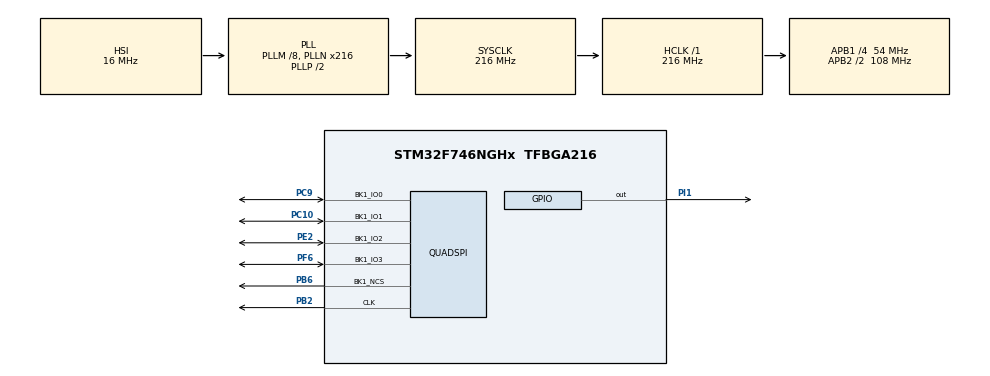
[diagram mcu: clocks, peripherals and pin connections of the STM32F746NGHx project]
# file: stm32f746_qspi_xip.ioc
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Dma.QUADSPI.0.Direction=DMA_PERIPH_TO_MEMORY
Dma.QUADSPI.0.FIFOMode=DMA_FIFOMODE_DISABLE
Dma.QUADSPI.0.Instance=DMA2_Stream7
Dma.QUADSPI.0.MemDataAlignment=DMA_MDATAALIGN_BYTE
Dma.QUADSPI.0.MemInc=DMA_MINC_ENABLE
Dma.QUADSPI.0.Mode=DMA_NORMAL
Dma.QUADSPI.0.PeriphDataAlignment=DMA_PDATAALIGN_BYTE
Dma.QUADSPI.0.PeriphInc=DMA_PINC_DISABLE
Dma.QUADSPI.0.Priority=DMA_PRIORITY_LOW
Dma.Request0=QUADSPI
Mcu.Family=STM32F7
Mcu.Name=STM32F746NGHx
Mcu.Package=TFBGA216
NVIC.DMA2_Stream7_IRQn=true\:0\:0\:false\:false\:true\:false\:true
NVIC.PriorityGroup=NVIC_PRIORITYGROUP_4
NVIC.QUADSPI_IRQn=true\:15\:0\:true\:false\:true\:true\:true
PA13.Mode=Serial_Wire
PA13.Signal=SYS_JTMS-SWDIO
PA14.Mode=Serial_Wire
PA14.Signal=SYS_JTCK-SWCLK
PB2.Mode=Single Bank 1
PB2.Signal=QUADSPI_CLK
PB6.Mode=Single Bank 1
PB6.Signal=QUADSPI_BK1_NCS
PC10.Mode=Single Bank 1
PC10.Signal=QUADSPI_BK1_IO1
PC9.Mode=Single Bank 1
PC9.Signal=QUADSPI_BK1_IO0
PE2.Mode=Single Bank 1
PE2.Signal=QUADSPI_BK1_IO2
PF6.Mode=Single Bank 1
PF6.Signal=QUADSPI_BK1_IO3
PI1.Signal=GPIO_Output
ProjectManager.HeapSize=0x200
ProjectManager.StackSize=0x400
ProjectManager.TargetToolchain=STM32CubeIDE
QUADSPI.ChipSelectHighTime=QSPI_CS_HIGH_TIME_2_CYCLE
QUADSPI.ClockPrescaler=2
QUADSPI.FifoThreshold=4
QUADSPI.FlashSize=POSITION_VAL(0x1000000) - 1
QUADSPI.SampleShifting=QSPI_SAMPLE_SHIFTING_HALFCYCLE
RCC.AHBFreq_Value=216000000
RCC.APB1CLKDivider=RCC_HCLK_DIV4
RCC.APB1Freq_Value=54000000
RCC.APB1TimFreq_Value=108000000
RCC.APB2CLKDivider=RCC_HCLK_DIV2
RCC.APB2Freq_Value=108000000
RCC.APB2TimFreq_Value=216000000
RCC.CortexFreq_Value=216000000
RCC.HCLKFreq_Value=216000000
RCC.HSE_VALUE=25000000
RCC.HSI_VALUE=16000000
RCC.LSE_VALUE=32768
RCC.PLLM=8
RCC.PLLN=216
RCC.SYSCLKFreq_VALUE=216000000
RCC.SYSCLKSource=RCC_SYSCLKSOURCE_PLLCLK
RCC.USBFreq_Value=216000000
RCC.VCOOutputFreq_Value=432000000
board=custom

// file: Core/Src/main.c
/* USER CODE BEGIN Header */
/**
  ******************************************************************************
  * @file           : main.c
  * @brief          : Main program body
  ******************************************************************************
  * @attention
  *
  * <h2><center>&copy; Copyright (c) 2019 STMicroelectronics.
  * All rights reserved.</center></h2>
  *
  * This software component is licensed by ST under BSD 3-Clause license,
  * the "License"; You may not use this file except in compliance with the
  * License. You may obtain a copy of the License at:
  *                        opensource.org/licenses/BSD-3-Clause
  *
  ******************************************************************************
  */
/* USER CODE END Header */

#include "main.h"
#include "dma.h"
#include "quadspi.h"
#include "gpio.h"

void SystemClock_Config(void);
/* USER CODE BEGIN PFP */
#include "gpio_toggle.h"
#if defined(__CC_ARM)
extern uint32_t Load$$QSPI$$Base;
extern uint32_t Load$$QSPI$$Length;
#elif defined(__ICCARM__)
#pragma section =".qspi"
#pragma section =".qspi_init"
#elif defined(__GNUC__)
extern uint32_t _qspi_init_base;
extern uint32_t _qspi_init_length;
#endif

__IO uint8_t CmdCplt, RxCplt, TxCplt, StatusMatch;

static void QSPI_WriteEnable(QSPI_HandleTypeDef *hqspi);
static void QSPI_AutoPollingMemReady(QSPI_HandleTypeDef *hqspi);
static void QSPI_DummyCyclesCfg(QSPI_HandleTypeDef *hqspi);
static void GpioToggle(void);
/* USER CODE END PFP */

int main(void)
{
  /* USER CODE BEGIN 1 */
  QSPI_CommandTypeDef      sCommand;
  QSPI_MemoryMappedTypeDef sMemMappedCfg;
  __IO uint32_t qspi_addr = 0;
  uint8_t *flash_addr;
  __IO uint8_t step = 0;
  uint32_t max_size, size;
  /* USER CODE END 1 */

  /* MCU Configuration--------------------------------------------------------*/

  /* Reset of all peripherals, Initializes the Flash interface and the Systick. */
  HAL_Init();

  /* Configure the system clock */
  SystemClock_Config();

  /* Initialize all configured peripherals */
  MX_GPIO_Init();
  MX_QUADSPI_Init();
  MX_DMA_Init();

  /* Infinite loop */
  /* USER CODE BEGIN WHILE */
  sCommand.InstructionMode   = QSPI_INSTRUCTION_1_LINE;
  sCommand.AddressSize       = QSPI_ADDRESS_24_BITS;
  sCommand.AlternateByteMode = QSPI_ALTERNATE_BYTES_NONE;
  sCommand.DdrMode           = QSPI_DDR_MODE_DISABLE;
  sCommand.DdrHoldHalfCycle  = QSPI_DDR_HHC_ANALOG_DELAY;
  sCommand.SIOOMode          = QSPI_SIOO_INST_EVERY_CMD;

  flash_addr = 0;
  size = 0 ;

#if defined(__CC_ARM)
  max_size = (uint32_t)(&Load$$QSPI$$Length);
#elif defined(__ICCARM__)
  max_size = __section_size(".qspi_init");
#elif defined(__GNUC__)
  max_size = (uint32_t)((uint8_t *)(&_qspi_init_length));
#endif
  while (1)
  {
    switch(step)
    {
      case 0:
        CmdCplt = 0;

        /* Enable write operations ------------------------------------------- */
        QSPI_WriteEnable(&hqspi);

        /* Erasing Sequence -------------------------------------------------- */
        sCommand.Instruction = SECTOR_ERASE_CMD;
        sCommand.AddressMode = QSPI_ADDRESS_1_LINE;
        sCommand.Address     = qspi_addr;
        sCommand.DataMode    = QSPI_DATA_NONE;
        sCommand.DummyCycles = 0;

        if (HAL_QSPI_Command_IT(&hqspi, &sCommand) != HAL_OK)
        {
          Error_Handler();
        }

        step++;
        break;

      case 1:
        if(CmdCplt != 0)
        {
          CmdCplt = 0;
          StatusMatch = 0;

          /* Configure automatic polling mode to wait for end of erase ------- */
          QSPI_AutoPollingMemReady(&hqspi);

          /* Initialize the variables for the data writing ------------------- */
          #if defined(__CC_ARM)
          flash_addr = (uint8_t *)(&Load$$QSPI$$Base);
          #elif defined(__ICCARM__)
          flash_addr = (uint8_t *)(__section_begin(".qspi_init"));
          #elif defined(__GNUC__)
          flash_addr =(uint8_t *)(&_qspi_init_base);
          #endif

          /* Copy only one page if the section is bigger */
          if (max_size > QSPI_PAGE_SIZE)
          {
            size = QSPI_PAGE_SIZE;
          }
          else
          {
            size = max_size;
          }

          step++;
        }
        break;

      case 2:
        if(StatusMatch != 0)
        {
          StatusMatch = 0;
          TxCplt = 0;

          /* Enable write operations ----------------------------------------- */
          QSPI_WriteEnable(&hqspi);

          /* Writing Sequence ------------------------------------------------ */
          sCommand.Instruction = QUAD_IN_FAST_PROG_CMD;
          sCommand.AddressMode = QSPI_ADDRESS_1_LINE;
          sCommand.Address     = qspi_addr;
          sCommand.DataMode    = QSPI_DATA_4_LINES;
          sCommand.NbData      = size;

          if (HAL_QSPI_Command(&hqspi, &sCommand, HAL_QPSI_TIMEOUT_DEFAULT_VALUE) != HAL_OK)
          {
            Error_Handler();
          }

          if (HAL_QSPI_Transmit_IT(&hqspi, flash_addr) != HAL_OK)
          {
            Error_Handler();
          }

          step++;
        }
        break;

      case 3:
        if(TxCplt != 0)
        {
          TxCplt = 0;
          StatusMatch = 0;

          /* Configure automatic polling mode to wait for end of program ----- */
          QSPI_AutoPollingMemReady(&hqspi);

          step++;
        }
        break;

      case 4:
        if(StatusMatch != 0)
        {
          qspi_addr += size;
          flash_addr += size;

          /* Check if a new page writing is needed */
          if (qspi_addr < max_size)
          {
            /* Update the remaining size if it is less than the page size */
            if ((qspi_addr + size) > max_size)
            {
              size = (max_size - qspi_addr) ;
            }
            step = 2;
          }
          else
          {
            StatusMatch = 0;
            RxCplt = 0;

            /* Configure Volatile Configuration register (with new dummy cycles) */
            QSPI_DummyCyclesCfg(&hqspi);

            /* Reading Sequence ------------------------------------------------ */
            sCommand.Instruction = QUAD_OUT_FAST_READ_CMD;
            sCommand.DummyCycles = DUMMY_CLOCK_CYCLES_READ_QUAD;

            sMemMappedCfg.TimeOutActivation = QSPI_TIMEOUT_COUNTER_DISABLE;

            if (HAL_QSPI_MemoryMapped(&hqspi, &sCommand, &sMemMappedCfg) != HAL_OK)
            {
              Error_Handler();
            }

            step++;
          }
        }
        break;

      case 5:
        {
#if 1
          /* Execute the code from QSPI memory ------------------------------- */
          uint32_t *ramx = (uint32_t *)(0x20037000);
          uint32_t *qspix = (uint32_t *)(0x90000000);
          for(int i=0; i<0x30; i++)
          {
            *ramx = *qspix;
            ramx++;
            qspix++;
          }
#endif
        }
        step++;
        break;

      case 6:
        GpioToggle();
        break;

      default :
        Error_Handler();
    }
    /* USER CODE END WHILE */

  }
}

void SystemClock_Config(void)
{
  RCC_OscInitTypeDef RCC_OscInitStruct = {0};
  RCC_ClkInitTypeDef RCC_ClkInitStruct = {0};

  /** Configure the main internal regulator output voltage
  */
  __HAL_RCC_PWR_CLK_ENABLE();
  __HAL_PWR_VOLTAGESCALING_CONFIG(PWR_REGULATOR_VOLTAGE_SCALE1);
  /** Initializes the CPU, AHB and APB busses clocks
  */
  RCC_OscInitStruct.OscillatorType = RCC_OSCILLATORTYPE_HSI;
  RCC_OscInitStruct.HSIState = RCC_HSI_ON;
  RCC_OscInitStruct.HSICalibrationValue = RCC_HSICALIBRATION_DEFAULT;
  RCC_OscInitStruct.PLL.PLLState = RCC_PLL_ON;
  RCC_OscInitStruct.PLL.PLLSource = RCC_PLLSOURCE_HSI;
  RCC_OscInitStruct.PLL.PLLM = 8;
  RCC_OscInitStruct.PLL.PLLN = 216;
  RCC_OscInitStruct.PLL.PLLP = RCC_PLLP_DIV2;
  RCC_OscInitStruct.PLL.PLLQ = 2;
  if (HAL_RCC_OscConfig(&RCC_OscInitStruct) != HAL_OK)
  {
    Error_Handler();
  }
  /** Activate the Over-Drive mode
  */
  if (HAL_PWREx_EnableOverDrive() != HAL_OK)
  {
    Error_Handler();
  }
  /** Initializes the CPU, AHB and APB busses clocks
  */
  RCC_ClkInitStruct.ClockType = RCC_CLOCKTYPE_HCLK|RCC_CLOCKTYPE_SYSCLK
                              |RCC_CLOCKTYPE_PCLK1|RCC_CLOCKTYPE_PCLK2;
  RCC_ClkInitStruct.SYSCLKSource = RCC_SYSCLKSOURCE_PLLCLK;
  RCC_ClkInitStruct.AHBCLKDivider = RCC_SYSCLK_DIV1;
  RCC_ClkInitStruct.APB1CLKDivider = RCC_HCLK_DIV4;
  RCC_ClkInitStruct.APB2CLKDivider = RCC_HCLK_DIV2;

  if (HAL_RCC_ClockConfig(&RCC_ClkInitStruct, FLASH_LATENCY_7) != HAL_OK)
  {
    Error_Handler();
  }
}

/* USER CODE BEGIN 4 */
#if defined(__CC_ARM)
#pragma arm section code = ".qspi"
#pragma no_inline
static void GpioToggle(void)
#elif defined(__ICCARM__)
static void GpioToggle(void) @ ".qspi"
#elif defined(__GNUC__)
static void LOCATE_FUNC GpioToggle(void)
#endif

{
  HAL_GPIO_TogglePin(LED1_GPIO_PORT, LED1_PIN);
  /* Insert delay 200 ms */
  HAL_Delay(200);

  GpioToggleEx();
}

#if defined(__CC_ARM)
#pragma arm section code
#endif

/**
  * @brief  This function sends a Write Enable and waits until it is effective.
  * @param  hqspi: QSPI handle
  * @retval None
  */
static void QSPI_WriteEnable(QSPI_HandleTypeDef *qspi)
{
  QSPI_CommandTypeDef     sCommand;
  QSPI_AutoPollingTypeDef sConfig;

  /* Enable write operations ------------------------------------------ */
  sCommand.InstructionMode   = QSPI_INSTRUCTION_1_LINE;
  sCommand.Instruction       = WRITE_ENABLE_CMD;
  sCommand.AddressMode       = QSPI_ADDRESS_NONE;
  sCommand.AlternateByteMode = QSPI_ALTERNATE_BYTES_NONE;
  sCommand.DataMode          = QSPI_DATA_NONE;
  sCommand.DummyCycles       = 0;
  sCommand.DdrMode           = QSPI_DDR_MODE_DISABLE;
  sCommand.DdrHoldHalfCycle  = QSPI_DDR_HHC_ANALOG_DELAY;
  sCommand.SIOOMode          = QSPI_SIOO_INST_EVERY_CMD;

  if (HAL_QSPI_Command(qspi, &sCommand, HAL_QPSI_TIMEOUT_DEFAULT_VALUE) != HAL_OK)
  {
    Error_Handler();
  }

  /* Configure automatic polling mode to wait for write enabling ---- */
  sConfig.Match           = 0x02;
  sConfig.Mask            = 0x02;
  sConfig.MatchMode       = QSPI_MATCH_MODE_AND;
  sConfig.StatusBytesSize = 1;
  sConfig.Interval        = 0x10;
  sConfig.AutomaticStop   = QSPI_AUTOMATIC_STOP_ENABLE;

  sCommand.Instruction    = READ_STATUS_REG_CMD;
  sCommand.DataMode       = QSPI_DATA_1_LINE;

  if (HAL_QSPI_AutoPolling(qspi, &sCommand, &sConfig, HAL_QPSI_TIMEOUT_DEFAULT_VALUE) != HAL_OK)
  {
    Error_Handler();
  }
}

/**
  * @brief  This function reads the SR of the memory and awaits the EOP.
  * @param  hqspi: QSPI handle
  * @retval None
  */
static void QSPI_AutoPollingMemReady(QSPI_HandleTypeDef *qspi)
{
  QSPI_CommandTypeDef     sCommand;
  QSPI_AutoPollingTypeDef sConfig;

  /* Configure automatic polling mode to wait for memory ready ------ */
  sCommand.InstructionMode   = QSPI_INSTRUCTION_1_LINE;
  sCommand.Instruction       = READ_STATUS_REG_CMD;
  sCommand.AddressMode       = QSPI_ADDRESS_NONE;
  sCommand.AlternateByteMode = QSPI_ALTERNATE_BYTES_NONE;
  sCommand.DataMode          = QSPI_DATA_1_LINE;
  sCommand.DummyCycles       = 0;
  sCommand.DdrMode           = QSPI_DDR_MODE_DISABLE;
  sCommand.DdrHoldHalfCycle  = QSPI_DDR_HHC_ANALOG_DELAY;
  sCommand.SIOOMode         = QSPI_SIOO_INST_EVERY_CMD;

  sConfig.Match           = 0x00;
  sConfig.Mask            = 0x01;
  sConfig.MatchMode       = QSPI_MATCH_MODE_AND;
  sConfig.StatusBytesSize = 1;
  sConfig.Interval        = 0x10;
  sConfig.AutomaticStop   = QSPI_AUTOMATIC_STOP_ENABLE;

  if (HAL_QSPI_AutoPolling_IT(qspi, &sCommand, &sConfig) != HAL_OK)
  {
    Error_Handler();
  }
}

/**
  * @brief  This function configures the dummy cycles on memory side.
  * @param  hqspi: QSPI handle
  * @retval None
  */
static void QSPI_DummyCyclesCfg(QSPI_HandleTypeDef *qspi)
{
  QSPI_CommandTypeDef sCommand;
  uint8_t reg;

  /* Read Volatile Configuration register --------------------------- */
  sCommand.InstructionMode   = QSPI_INSTRUCTION_1_LINE;
  sCommand.Instruction       = READ_VOL_CFG_REG_CMD;
  sCommand.AddressMode       = QSPI_ADDRESS_NONE;
  sCommand.AlternateByteMode = QSPI_ALTERNATE_BYTES_NONE;
  sCommand.DataMode          = QSPI_DATA_1_LINE;
  sCommand.DummyCycles       = 0;
  sCommand.DdrMode           = QSPI_DDR_MODE_DISABLE;
  sCommand.DdrHoldHalfCycle  = QSPI_DDR_HHC_ANALOG_DELAY;
  sCommand.SIOOMode         = QSPI_SIOO_INST_EVERY_CMD;
  sCommand.NbData            = 1;

  if (HAL_QSPI_Command(qspi, &sCommand, HAL_QPSI_TIMEOUT_DEFAULT_VALUE) != HAL_OK)
  {
    Error_Handler();
  }

  if (HAL_QSPI_Receive(qspi, &reg, HAL_QPSI_TIMEOUT_DEFAULT_VALUE) != HAL_OK)
  {
    Error_Handler();
  }

  /* Enable write operations ---------------------------------------- */
  QSPI_WriteEnable(qspi);

  /* Write Volatile Configuration register (with new dummy cycles) -- */
  sCommand.Instruction = WRITE_VOL_CFG_REG_CMD;
  MODIFY_REG(reg, 0xF0, (DUMMY_CLOCK_CYCLES_READ_QUAD << POSITION_VAL(0xF0)));

  if (HAL_QSPI_Command(qspi, &sCommand, HAL_QPSI_TIMEOUT_DEFAULT_VALUE) != HAL_OK)
  {
    Error_Handler();
  }

  if (HAL_QSPI_Transmit(qspi, &reg, HAL_QPSI_TIMEOUT_DEFAULT_VALUE) != HAL_OK)
  {
    Error_Handler();
  }
}

/**
  * @brief  Command completed callbacks.
  * @param  hqspi: QSPI handle
  * @retval None
  */
void HAL_QSPI_CmdCpltCallback(QSPI_HandleTypeDef *qspi)
{
  CmdCplt++;
}

/**
  * @brief  Rx Transfer completed callbacks.
  * @param  hqspi: QSPI handle
  * @retval None
  */
void HAL_QSPI_RxCpltCallback(QSPI_HandleTypeDef *qspi)
{
  RxCplt++;
}

/**
  * @brief  Tx Transfer completed callbacks.
  * @param  hqspi: QSPI handle
  * @retval None
  */
void HAL_QSPI_TxCpltCallback(QSPI_HandleTypeDef *qspi)
{
  TxCplt++;
}

/**
  * @brief  Status Match callbacks
  * @param  hqspi: QSPI handle
  * @retval None
  */
void HAL_QSPI_StatusMatchCallback(QSPI_HandleTypeDef *qspi)
{
  StatusMatch++;
}

void HAL_QSPI_ErrorCallback(QSPI_HandleTypeDef *hqspi)
{
  /* Prevent unused argument(s) compilation warning */
  while(1);
}
/* USER CODE END 4 */

void Error_Handler(void)
{
  /* USER CODE BEGIN Error_Handler_Debug */
  /* User can add his own implementation to report the HAL error return state */
  while(1);
  /* USER CODE END Error_Handler_Debug */
}

/************************ (C) COPYRIGHT STMicroelectronics *****END OF FILE****/
